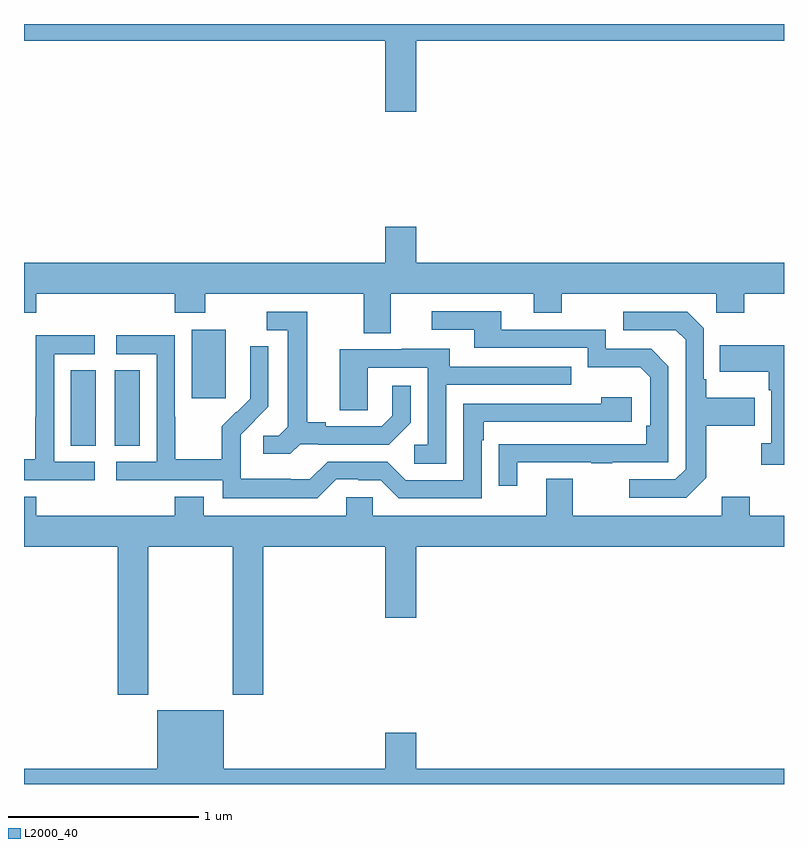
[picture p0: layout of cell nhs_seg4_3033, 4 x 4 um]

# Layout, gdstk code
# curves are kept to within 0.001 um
import gdstk
lib = gdstk.Library(unit=1e-6, precision=1e-09)
def R(c, l, rs):  # rectangles x0, y0, x1, y1
    for r in rs: c.add(gdstk.rectangle(r[:2], r[2:], *l))
def P(c, l, *ps):  # polygons
    for p in ps: c.add(gdstk.Polygon(p, *l))
L2000_40 = (2000, 40)

nhs_seg4_3033 = lib.new_cell('nhs_seg4_3033')
R(nhs_seg4_3033, L2000_40, [(271.247,802.681,271.378,803.078), (271.478,802.681,271.609,803.078), (271.883,802.929,272.062,803.29)])
P(nhs_seg4_3033, L2000_40, [(275,804.9),(271,804.9),(271,804.812),(272.9,804.812),(272.9,804.438),(273.064,804.438),(273.064,804.812),(275,804.812)],
  [(272.929,803.48),(273.683,803.48),(273.683,803.381),(273.831,803.381),(273.831,803.48),(274.644,803.48),(274.644,803.381),(274.791,803.381),(274.791,803.48),(275,803.48),(275,803.644),(273.064,803.644),(273.064,803.833),(272.9,803.833),(272.9,803.644),(271,803.644),(271,803.381),(271.064,803.381),(271.064,803.48),(271.793,803.48),(271.793,803.381),(271.953,803.381),(271.953,803.48),(272.789,803.48),(272.789,803.272),(272.929,803.272)],
  [(273.595,802.593),(273.985,802.593),(273.985,802.588),(274.097,802.588),(274.097,802.593),(274.392,802.593),(274.392,803.1),(274.302,803.19),(274.062,803.19),(274.062,803.292),(273.511,803.292),(273.511,803.388),(273.147,803.388),(273.147,803.292),(273.371,803.292),(273.371,803.196),(273.966,803.196),(273.966,803.093),(274.243,803.093),(274.296,803.04),(274.296,802.786),(274.276,802.786),(274.276,802.689),(273.499,802.688),(273.499,802.47),(273.595,802.47)],
  [(272.454,802.689),(272.548,802.689),(272.548,802.686),(272.92,802.686),(273.036,802.802),(273.036,802.996),(272.939,802.996),(272.939,802.839),(272.882,802.782),(272.587,802.782),(272.587,802.805),(272.491,802.805),(272.491,803.385),(272.277,803.385),(272.277,803.289),(272.387,803.289),(272.387,802.781),(272.34,802.734),(272.259,802.734),(272.259,802.637),(272.402,802.637)],
  [(274.591,802.513),(274.591,802.786),(274.847,802.786),(274.847,802.933),(274.591,802.933),(274.591,803.029),(274.578,803.029),(274.578,803.298),(274.491,803.385),(274.155,803.385),(274.155,803.289),(274.431,803.289),(274.482,803.238),(274.482,802.557),(274.428,802.503),(274.185,802.503),(274.185,802.407),(274.485,802.407)],
  [(271.372,802.596),(271.158,802.596),(271.158,803.163),(271.372,803.163),(271.372,803.262),(271.062,803.262),(271.062,802.832),(271.06,802.832),(271.06,802.609),(271,802.609),(271,802.5),(271.372,802.5)],
  [(272.643,802.503),(272.759,802.503),(272.759,802.5),(272.877,802.5),(272.973,802.404),(273.408,802.404),(273.408,802.709),(273.421,802.709),(273.421,802.806),(274.198,802.806),(274.198,802.936),(274.037,802.936),(274.037,802.902),(273.312,802.902),(273.312,802.5),(273.009,802.5),(272.913,802.596),(272.598,802.596),(272.505,802.503),(272.405,802.503),(272.405,802.507),(272.142,802.507),(272.142,802.641),(272.14,802.641),(272.14,802.738),(272.286,802.886),(272.286,803.204),(272.19,803.204),(272.19,803.05),(272.192,803.05),(272.192,802.928),(272.121,802.857),(272.118,802.86),(272.041,802.783),(272.041,802.609),(271.797,802.609),(271.797,802.832),(271.794,802.832),(271.794,803.262),(271.485,803.262),(271.485,803.163),(271.698,803.163),(271.698,802.596),(271.485,802.596),(271.485,802.5),(272.046,802.5),(272.046,802.403),(272.543,802.403)],
  [(275,803.209),(274.663,803.209),(274.663,803.069),(274.92,803.069),(274.92,802.973),(274.932,802.973),(274.932,802.694),(274.881,802.694),(274.881,802.581),(275,802.581)],
  [(273.222,803.001),(273.881,803.001),(273.881,803.097),(273.241,803.097),(273.241,803.191),(272.987,803.191),(272.987,803.187),(272.663,803.187),(272.663,802.867),(272.808,802.867),(272.808,803.091),(273.126,803.091),(273.126,802.686),(273.054,802.686),(273.054,802.585),(273.222,802.585)],
  [(275,802.312),(274.821,802.312),(274.821,802.411),(274.673,802.411),(274.673,802.312),(273.889,802.312),(273.889,802.507),(273.749,802.507),(273.749,802.312),(272.835,802.312),(272.835,802.41),(272.697,802.41),(272.697,802.312),(271.945,802.312),(271.945,802.411),(271.793,802.411),(271.793,802.312),(271.064,802.312),(271.064,802.411),(271,802.411),(271,802.148),(271.493,802.148),(271.493,801.369),(271.653,801.369),(271.653,802.148),(272.098,802.148),(272.098,801.369),(272.258,801.369),(272.258,802.148),(272.9,802.148),(272.9,801.774),(273.064,801.774),(273.064,802.148),(275,802.148)],
  [(275,800.98),(273.064,800.98),(273.064,801.169),(272.9,801.169),(272.9,800.98),(272.05,800.98),(272.05,801.289),(271.7,801.289),(271.7,800.98),(271,800.98),(271,800.9),(275,800.9)])

lib.write_gds('nhs_seg4_3033.gds')
